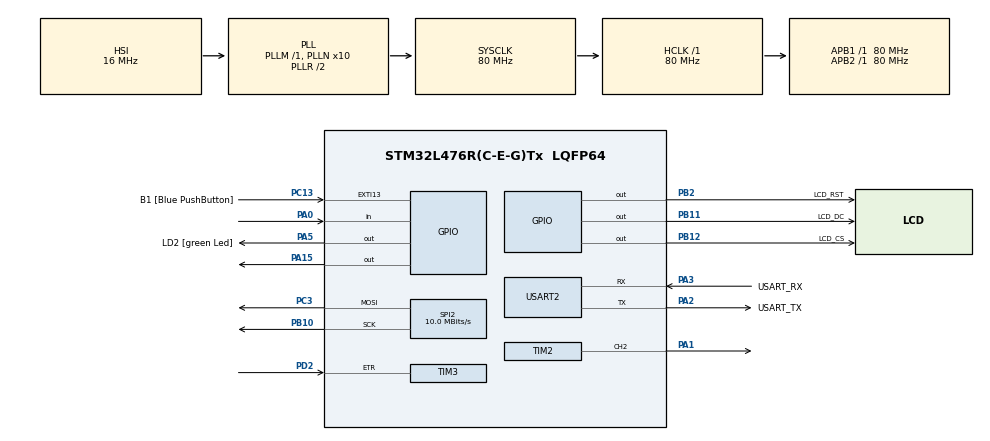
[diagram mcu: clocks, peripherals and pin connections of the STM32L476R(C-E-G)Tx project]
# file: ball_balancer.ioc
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Mcu.Family=STM32L4
Mcu.Name=STM32L476R(C-E-G)Tx
Mcu.Package=LQFP64
NVIC.PriorityGroup=NVIC_PRIORITYGROUP_4
NVIC.TIM1_TRG_COM_TIM17_IRQn=true\:0\:0\:false\:false\:true\:false\:true\:true
NVIC.TIM4_IRQn=true\:0\:0\:false\:false\:true\:true\:true\:true
NVIC.TIM6_DAC_IRQn=true\:15\:0\:false\:false\:true\:false\:true\:true
NVIC.TimeBase=TIM6_DAC_IRQn
NVIC.TimeBaseIP=TIM6
PA0.Signal=GPIO_Input
PA1.Signal=S_TIM2_CH2
PA13\ (JTMS-SWDIO).GPIO_Label=TMS
PA13\ (JTMS-SWDIO).Mode=Trace_Asynchronous_SW
PA13\ (JTMS-SWDIO).Signal=SYS_JTMS-SWDIO
PA14\ (JTCK-SWCLK).GPIO_Label=TCK
PA14\ (JTCK-SWCLK).Mode=Trace_Asynchronous_SW
PA14\ (JTCK-SWCLK).Signal=SYS_JTCK-SWCLK
PA15\ (JTDI).Signal=GPIO_Output
PA2.GPIO_Label=USART_TX
PA2.GPIO_Mode=GPIO_MODE_AF_PP
PA2.GPIO_PuPd=GPIO_NOPULL
PA2.GPIO_Speed=GPIO_SPEED_FREQ_VERY_HIGH
PA2.Mode=Asynchronous
PA2.Signal=USART2_TX
PA3.GPIO_Label=USART_RX
PA3.GPIO_Mode=GPIO_MODE_AF_PP
PA3.GPIO_PuPd=GPIO_NOPULL
PA3.GPIO_Speed=GPIO_SPEED_FREQ_VERY_HIGH
PA3.Mode=Asynchronous
PA3.Signal=USART2_RX
PA5.GPIO_Label=LD2 [green Led]
PA5.GPIO_ModeDefaultOutputPP=GPIO_MODE_OUTPUT_PP
PA5.GPIO_PuPd=GPIO_NOPULL
PA5.GPIO_Speed=GPIO_SPEED_FREQ_LOW
PA5.Signal=GPIO_Output
PB10.Mode=TX_Only_Simplex_Unidirect_Master
PB10.Signal=SPI2_SCK
PB11.GPIO_Label=LCD_DC
PB11.Signal=GPIO_Output
PB12.GPIO_Label=LCD_CS
PB12.PinState=GPIO_PIN_SET
PB12.Signal=GPIO_Output
PB2.GPIO_Label=LCD_RST
PB2.Signal=GPIO_Output
PB3\ (JTDO-TRACESWO).GPIO_Label=SWO
PB3\ (JTDO-TRACESWO).Mode=Trace_Asynchronous_SW
PB3\ (JTDO-TRACESWO).Signal=SYS_JTDO-SWO
PC13.GPIO_Label=B1 [Blue PushButton]
PC13.GPIO_ModeDefaultEXTI=GPIO_MODE_IT_FALLING
PC13.GPIO_PuPd=GPIO_NOPULL
PC13.Signal=GPXTI13
PC14-OSC32_IN\ (PC14).Mode=LSE-External-Oscillator
PC14-OSC32_IN\ (PC14).Signal=RCC_OSC32_IN
PC15-OSC32_OUT\ (PC15).Mode=LSE-External-Oscillator
PC15-OSC32_OUT\ (PC15).Signal=RCC_OSC32_OUT
PC3.Mode=TX_Only_Simplex_Unidirect_Master
PC3.Signal=SPI2_MOSI
PD2.Signal=S_TIM3_ETR
PH0-OSC_IN\ (PH0).Signal=RCC_OSC_IN
PH1-OSC_OUT\ (PH1).Signal=RCC_OSC_OUT
ProjectManager.HeapSize=0x200
ProjectManager.StackSize=0x400
ProjectManager.TargetToolchain=STM32CubeIDE
RCC.ADCFreq_Value=64000000
RCC.AHBFreq_Value=80000000
RCC.APB1Freq_Value=80000000
RCC.APB1TimFreq_Value=80000000
RCC.APB2Freq_Value=80000000
RCC.APB2TimFreq_Value=80000000
RCC.CortexFreq_Value=80000000
RCC.HCLKFreq_Value=80000000
RCC.HSE_VALUE=8000000
RCC.HSI_VALUE=16000000
RCC.MSI_VALUE=4000000
RCC.PLLN=10
RCC.PLLSourceVirtual=RCC_PLLSOURCE_HSI
RCC.PREFETCH_ENABLE=1
RCC.SYSCLKFreq_VALUE=80000000
RCC.SYSCLKSource=RCC_SYSCLKSOURCE_PLLCLK
RCC.USBFreq_Value=64000000
RCC.VCOOutputFreq_Value=160000000
SH.S_TIM2_CH2.0=TIM2_CH2,PWM Generation2 CH2
SH.S_TIM3_ETR.0=TIM3_ETR,TriggerSource_ETR
SPI2.BaudRatePrescaler=SPI_BAUDRATEPRESCALER_8
SPI2.CalculateBaudRate=10.0 MBits/s
SPI2.DataSize=SPI_DATASIZE_8BIT
SPI2.Direction=SPI_DIRECTION_2LINES
SPI2.Mode=SPI_MODE_MASTER
SPI2.NSSPMode=SPI_NSS_PULSE_DISABLE
SPI2.VirtualType=VM_MASTER
TIM1.Prescaler=79
TIM2.Channel-PWM\ Generation2\ CH2=TIM_CHANNEL_2
TIM2.Period=9999
TIM2.Prescaler=159
TIM4.Period=99
TIM4.Prescaler=79
USART2.VirtualMode-Asynchronous=VM_ASYNC
VP_SYS_VS_tim6.Mode=TIM6
VP_TIM1_VS_ClockSourceINT.Mode=Internal
VP_TIM2_VS_ClockSourceINT.Mode=Internal
VP_TIM3_VS_ControllerModeClock.Mode=Clock Mode
VP_TIM4_VS_ClockSourceINT.Mode=Internal
board=NUCLEO-L476RG

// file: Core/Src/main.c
/* USER CODE BEGIN Header */
/**
  ******************************************************************************
  * @file           : main.c
  * @brief          : Main program body
  ******************************************************************************
  * @attention
  *
  * Copyright (c) 2025 STMicroelectronics.
  * All rights reserved.
  *
  * This software is licensed under terms that can be found in the LICENSE file
  * in the root directory of this software component.
  * If no LICENSE file comes with this software, it is provided AS-IS.
  *
  ******************************************************************************
  */
/* USER CODE END Header */
#include "main.h"
#include "spi.h"
#include "tim.h"
#include "usart.h"
#include "gpio.h"

/* USER CODE BEGIN Includes */
#include "pid.h"
#include <stdio.h>
#include <string.h>
#include <stdbool.h>
#include "st7735.h"
#include "fonts.h"

/* USER CODE END Includes */

/* USER CODE BEGIN PV */
float setpoint = 25.0f;
int Servo_value;

#define TRIG_PIN GPIO_PIN_15
#define TRIG_PORT GPIOA
#define ECHO_PIN GPIO_PIN_0
#define ECHO_PORT GPIOA
uint32_t pMillis;
uint32_t Value1 = 0;
uint32_t Value2 = 0;
uint16_t Distance  = 0;  // cm

//PID
#define PID_KP  2.0f
#define PID_KI  1.51f
#define PID_KD  0.51f
#define PID_TAU 0.02f
#define PID_LIM_MIN -100.0f
#define PID_LIM_MAX  100.0f
#define PID_LIM_MIN_INT -70.0f
#define PID_LIM_MAX_INT  70.0f
#define SAMPLE_TIME_S 0.1f

PIDController pid = { PID_KP, PID_KI, PID_KD, PID_TAU, PID_LIM_MIN,
		             PID_LIM_MAX,PID_LIM_MIN_INT, PID_LIM_MAX_INT, SAMPLE_TIME_S };

/* USER CODE END PV */

void SystemClock_Config(void);

/* USER CODE BEGIN 0 */
int prevDistance = 0;
int Distance_Count(){
    HAL_GPIO_WritePin(TRIG_PORT, TRIG_PIN, GPIO_PIN_SET);  // pull the TRIG pin HIGH
    __HAL_TIM_SET_COUNTER(&htim1, 0);
    while (__HAL_TIM_GET_COUNTER (&htim1) < 10);  // wait for 10 us
    HAL_GPIO_WritePin(TRIG_PORT, TRIG_PIN, GPIO_PIN_RESET);  // pull the TRIG pin low

    pMillis = HAL_GetTick(); // used this to avoid infinite while loop  (for timeout)
    // wait for the echo pin to go high
    while (!(HAL_GPIO_ReadPin (ECHO_PORT, ECHO_PIN)) && pMillis + 10 >  HAL_GetTick());
    Value1 = __HAL_TIM_GET_COUNTER (&htim1);

    pMillis = HAL_GetTick(); // used this to avoid infinite while loop (for timeout)
    // wait for the echo pin to go low
    while ((HAL_GPIO_ReadPin (ECHO_PORT, ECHO_PIN)) && pMillis + 50 > HAL_GetTick());
    Value2 = __HAL_TIM_GET_COUNTER (&htim1);

    Distance = (Value2-Value1)* 0.034/2;

    if (Distance>60){
    	Distance= prevDistance;
    	}

    prevDistance=Distance;
    return Distance;

}

int x;
float x1;
int map(int value){
	 x = (value-pid.limMin)*(1050-450)/(pid.limMax-pid.limMin)+450;
	x1 = (0.0000222222*(int)pow(x, 2)-0.0066666667*x-7.5000000000);
	return x = (x1+6)*(900-450)/(10+6)+450;
}

#define LINE_MAX_LENGTH 10
static char line_buffer[LINE_MAX_LENGTH + 1];
static uint32_t line_length;
static int first_number;
static int second_number;
int i=0;
void line_append(uint8_t value) {
  if (value == '\r' || value == '\n') {
    if (line_length > 0) {
      line_buffer[line_length] = '\0'; // Dodanie końca ciągu

      if (i == 0) {
        first_number = line_buffer[0] - '0'; // Konwersja pierwszego znaku na liczbę
        i++;
      } else if (i == 1) {
        second_number = line_buffer[0] - '0'; // Konwersja drugiego znaku na liczbę
        i++;
      }

      if (i == 2) {
        setpoint = first_number * 10 + second_number;
        i = 0;
      }

      line_length = 0;
    }
  } else {
    if (line_length >= LINE_MAX_LENGTH) {
      line_length = 0;
      return;
    }
    line_buffer[line_length++] = value;
  }
}

/* USER CODE END 0 */

int main(void)
{

  /* MCU Configuration--------------------------------------------------------*/

  /* Reset of all peripherals, Initializes the Flash interface and the Systick. */
  HAL_Init();

  /* Configure the system clock */
  SystemClock_Config();

  /* Initialize all configured peripherals */
  MX_GPIO_Init();
  MX_USART2_UART_Init();
  MX_TIM2_Init();
  MX_TIM1_Init();
  MX_SPI2_Init();
  MX_TIM3_Init();
  MX_TIM4_Init();
  /* USER CODE BEGIN 2 */

  HAL_TIM_PWM_Start(&htim2, TIM_CHANNEL_2);
  __HAL_TIM_SET_COMPARE(&htim2,TIM_CHANNEL_2, 750);
  HAL_Delay(100);

  HAL_TIM_Base_Start(&htim1);
  HAL_TIM_Base_Start_IT(&htim4);
  HAL_GPIO_WritePin(TRIG_PORT, TRIG_PIN, GPIO_PIN_RESET);  // pull the TRIG pin low

  PIDController_Init(&pid);

  /* USER CODE END 2 */

  /* Infinite loop */
  /* USER CODE BEGIN WHILE */
  lcd_init();
  for (int y = 0; y < LCD_HEIGHT; y++) {
    for (int x = 0; x < LCD_WIDTH; x++) {
      lcd_put_pixel(x, y, __REV16(x / 10 + y * 16));
    }
  }
  lcd_copy();

  ST7735_WriteString(35, 10, "Dystans:" , Font_11x18, ST7735_WHITE, ST7735_BLUE);
  ST7735_WriteString(20, 62, "Wartosc zadana:" , Font_7x10, ST7735_WHITE, ST7735_BLUE);
  char str[2];

  while (1)
  {

	  Distance = Distance_Count();
	  sprintf(str, "%d", Distance);
	  ST7735_WriteString(50, 30, str , Font_16x26, ST7735_WHITE, ST7735_BLUE);
	  sprintf(str, "%d", (int)setpoint);
	  ST7735_WriteString(50, 80, str , Font_16x26, ST7735_WHITE, ST7735_BLUE);
	  HAL_Delay(50);

      HAL_Delay(150);
    /* USER CODE END WHILE */

  }
}

void SystemClock_Config(void)
{
  RCC_OscInitTypeDef RCC_OscInitStruct = {0};
  RCC_ClkInitTypeDef RCC_ClkInitStruct = {0};

  /** Configure the main internal regulator output voltage
  */
  if (HAL_PWREx_ControlVoltageScaling(PWR_REGULATOR_VOLTAGE_SCALE1) != HAL_OK)
  {
    Error_Handler();
  }

  /** Initializes the RCC Oscillators according to the specified parameters
  * in the RCC_OscInitTypeDef structure.
  */
  RCC_OscInitStruct.OscillatorType = RCC_OSCILLATORTYPE_HSI;
  RCC_OscInitStruct.HSIState = RCC_HSI_ON;
  RCC_OscInitStruct.HSICalibrationValue = RCC_HSICALIBRATION_DEFAULT;
  RCC_OscInitStruct.PLL.PLLState = RCC_PLL_ON;
  RCC_OscInitStruct.PLL.PLLSource = RCC_PLLSOURCE_HSI;
  RCC_OscInitStruct.PLL.PLLM = 1;
  RCC_OscInitStruct.PLL.PLLN = 10;
  RCC_OscInitStruct.PLL.PLLP = RCC_PLLP_DIV7;
  RCC_OscInitStruct.PLL.PLLQ = RCC_PLLQ_DIV2;
  RCC_OscInitStruct.PLL.PLLR = RCC_PLLR_DIV2;
  if (HAL_RCC_OscConfig(&RCC_OscInitStruct) != HAL_OK)
  {
    Error_Handler();
  }

  /** Initializes the CPU, AHB and APB buses clocks
  */
  RCC_ClkInitStruct.ClockType = RCC_CLOCKTYPE_HCLK|RCC_CLOCKTYPE_SYSCLK
                              |RCC_CLOCKTYPE_PCLK1|RCC_CLOCKTYPE_PCLK2;
  RCC_ClkInitStruct.SYSCLKSource = RCC_SYSCLKSOURCE_PLLCLK;
  RCC_ClkInitStruct.AHBCLKDivider = RCC_SYSCLK_DIV1;
  RCC_ClkInitStruct.APB1CLKDivider = RCC_HCLK_DIV1;
  RCC_ClkInitStruct.APB2CLKDivider = RCC_HCLK_DIV1;

  if (HAL_RCC_ClockConfig(&RCC_ClkInitStruct, FLASH_LATENCY_4) != HAL_OK)
  {
    Error_Handler();
  }
}

void HAL_TIM_PeriodElapsedCallback(TIM_HandleTypeDef *htim)
{
  /* USER CODE BEGIN Callback 0 */
	if(htim->Instance == TIM4)
	  {
		  PIDController_Update(&pid, setpoint, Distance);
		  Servo_value = map(pid.out);
		  __HAL_TIM_SET_COMPARE(&htim2,TIM_CHANNEL_2, Servo_value);
		  const char message[] = "Hello world!\r\n";
		  HAL_UART_Transmit(&huart2, (uint8_t*)message, strlen(message), HAL_MAX_DELAY);
	  }
  /* USER CODE END Callback 0 */
  if (htim->Instance == TIM6) {
    HAL_IncTick();
  }
}

void Error_Handler(void)
{
  __disable_irq();
  while (1)
  {
  }
}
